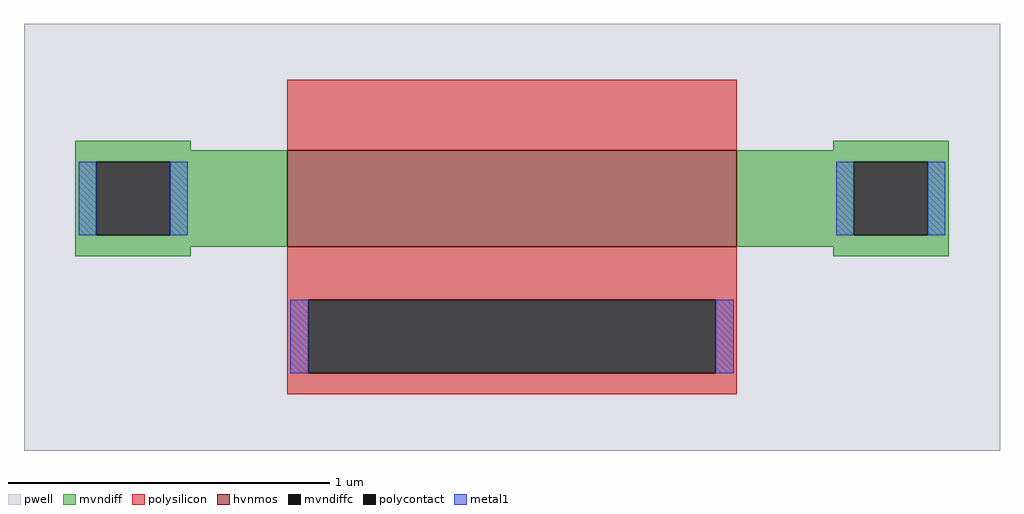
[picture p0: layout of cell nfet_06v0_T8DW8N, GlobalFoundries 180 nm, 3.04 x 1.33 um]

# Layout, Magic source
magic
tech gf180mcuC
magscale 1 10
<< pwell >>
rect -304 -133 304 133
<< hvnmos >>
rect -140 -6 140 54
<< mvndiff >>
rect -272 54 -200 60
rect 200 54 272 60
rect -272 47 -140 54
rect -272 1 -259 47
rect -213 1 -140 47
rect -272 -6 -140 1
rect 140 47 272 54
rect 140 1 213 47
rect 259 1 272 47
rect 140 -6 272 1
rect -272 -12 -200 -6
rect 200 -12 272 -6
<< mvndiffc >>
rect -259 1 -213 47
rect 213 1 259 47
<< polysilicon >>
rect -140 54 140 98
rect -140 -39 140 -6
rect -140 -85 -127 -39
rect 127 -85 140 -39
rect -140 -98 140 -85
<< polycontact >>
rect -127 -85 127 -39
<< metal1 >>
rect -270 1 -259 47
rect -213 1 -202 47
rect 202 1 213 47
rect 259 1 270 47
rect -138 -85 -127 -39
rect 127 -85 138 -39
<< properties >>
string gencell nfet_06v0
string library gf180mcu
string parameters w 0.3 l 1.4 m 1 nf 1 diffcov 100 polycov 100 guard 0 glc 0 grc 0 gtc 0 gbc 0 tbcov 100 rlcov 100 topc 0 botc 1 poverlap 0 doverlap 0 lmin 0.7 wmin 0.3 class mosfet full_metal 0 compatible {nfet_03v3 nfet_05v0 nfet_06v0 nfet_06v0_nvt}
<< end >>
